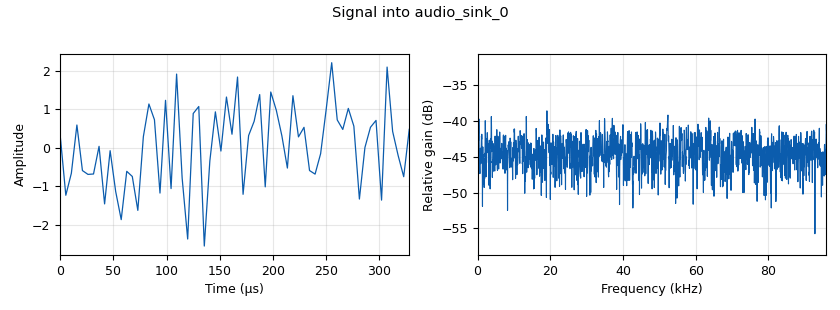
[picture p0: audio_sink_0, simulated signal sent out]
<?xml version='1.0' encoding='utf-8'?>
<?grc format='1' created='3.7.6'?>
<flow_graph>
<block>
<key>options</key>
<param><key>id</key><value>top_block</value></param>
<param><key>generate_options</key><value>qt_gui</value></param>
<param><key>category</key><value>Custom</value></param>
</block>
<block>
<key>variable</key>
<param><key>id</key><value>samp_rate</value></param>
<param><key>value</key><value>192000</value></param>
</block>
<block>
<key>audio_sink</key>
<param><key>id</key><value>audio_sink_0</value></param>
<param><key>samp_rate</key><value>samp_rate</value></param>
</block>
<block>
<key>analog_noise_source_x</key>
<param><key>id</key><value>analog_noise_source_x_0</value></param>
<param><key>type</key><value>float</value></param>
<param><key>noise_type</key><value>analog.GR_GAUSSIAN</value></param>
<param><key>amp</key><value>1</value></param>
<param><key>seed</key><value>45</value></param>
</block>
<block>
<key>audio_source</key>
<param><key>id</key><value>audio_source_0</value></param>
<param><key>samp_rate</key><value>samp_rate</value></param>
</block>
<block>
<key>qtgui_freq_sink_x</key>
<param><key>id</key><value>qtgui_freq_sink_x_0</value></param>
<param><key>_enabled</key><value>False</value></param>
<param><key>type</key><value>float</value></param>
<param><key>fftsize</key><value>1024</value></param>
<param><key>wintype</key><value>firdes.WIN_BLACKMAN_hARRIS</value></param>
<param><key>fc</key><value>0</value></param>
<param><key>bw</key><value>samp_rate</value></param>
<param><key>showports</key><value>True</value></param>
</block>
<block>
<key>qtgui_freq_sink_x</key>
<param><key>id</key><value>qtgui_freq_sink_x_1</value></param>
<param><key>type</key><value>float</value></param>
<param><key>fftsize</key><value>1024*4</value></param>
<param><key>wintype</key><value>firdes.WIN_BLACKMAN_hARRIS</value></param>
<param><key>fc</key><value>0</value></param>
<param><key>bw</key><value>samp_rate</value></param>
<param><key>grid</key><value>True</value></param>
<param><key>average</key><value>0.1</value></param>
<param><key>showports</key><value>True</value></param>
</block>
<connection><source_block_id>analog_noise_source_x_0</source_block_id><sink_block_id>audio_sink_0</sink_block_id><source_key>0</source_key><sink_key>0</sink_key></connection>
<connection><source_block_id>analog_noise_source_x_0</source_block_id><sink_block_id>qtgui_freq_sink_x_0</sink_block_id><source_key>0</source_key><sink_key>0</sink_key></connection>
<connection><source_block_id>audio_source_0</source_block_id><sink_block_id>qtgui_freq_sink_x_1</sink_block_id><source_key>0</source_key><sink_key>0</sink_key></connection>
</flow_graph>
